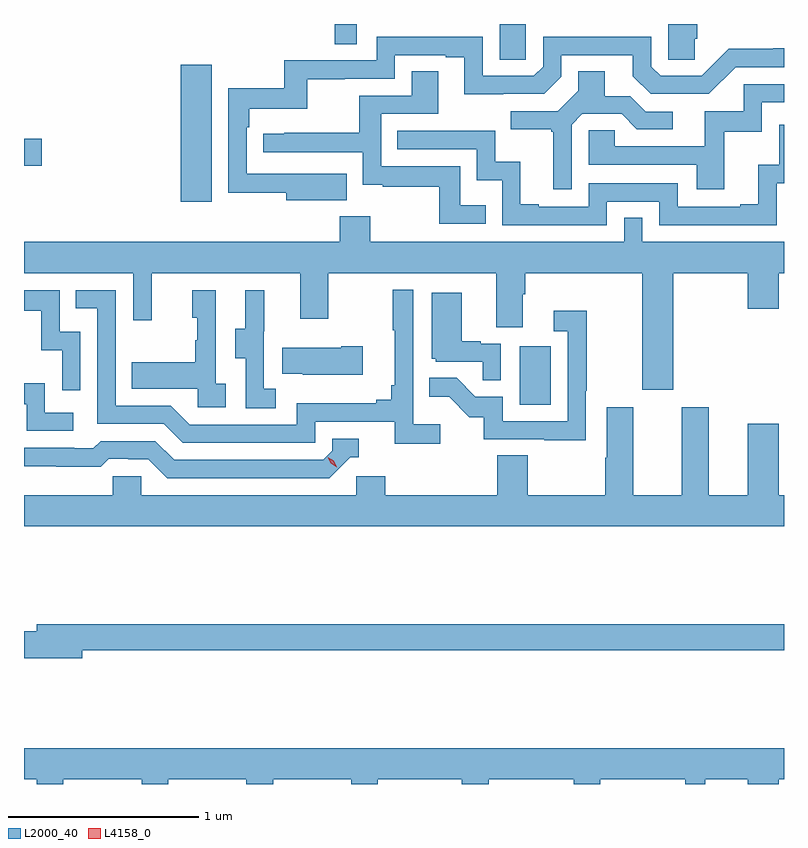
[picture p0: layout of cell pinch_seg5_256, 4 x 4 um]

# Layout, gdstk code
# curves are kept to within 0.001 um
import gdstk
lib = gdstk.Library(unit=1e-6, precision=1e-09)
def R(c, l, rs):  # rectangles x0, y0, x1, y1
    for r in rs: c.add(gdstk.rectangle(r[:2], r[2:], *l))
def P(c, l, *ps):  # polygons
    for p in ps: c.add(gdstk.Polygon(p, *l))
L2000_40 = (2000, 40)
L4158_0 = (4158, 0)

pinch_seg5_256 = lib.new_cell('pinch_seg5_256')
R(pinch_seg5_256, L2000_40, [(931.04,901.356,931.204,901.663), (929.258,902.424,929.419,903.145), (928.432,902.614,928.525,902.756), (930.935,903.172,931.074,903.359), (930.067,903.253,930.183,903.359)])
P(pinch_seg5_256, L2000_40, [(931.961,903.282),(931.976,903.282),(931.976,903.359),(931.824,903.359),(931.824,903.172),(931.961,903.172)],
  [(930.131,902.572),(929.604,902.571),(929.604,902.816),(929.618,902.816),(929.618,902.912),(929.923,902.912),(929.923,903.067),(930.119,903.067),(930.119,903.072),(930.384,903.072),(930.384,903.195),(930.653,903.195),(930.653,903.183),(930.749,903.183),(930.749,902.99),(931.17,902.991),(931.26,903.081),(931.26,903.195),(931.637,903.195),(931.637,903.085),(931.731,902.991),(932.037,902.991),(932.178,903.132),(932.432,903.132),(932.432,903.232),(932.376,903.232),(932.376,903.229),(932.14,903.229),(931.998,903.087),(931.782,903.087),(931.734,903.135),(931.734,903.291),(931.164,903.291),(931.164,903.135),(931.116,903.087),(930.846,903.087),(930.846,903.291),(930.288,903.291),(930.288,903.168),(929.802,903.168),(929.802,903.022),(929.508,903.022),(929.508,902.47),(929.813,902.47),(929.813,902.432),(930.131,902.432)],
  [(930.863,902.404),(930.729,902.404),(930.729,902.61),(930.312,902.61),(930.312,902.886),(930.613,902.886),(930.613,903.11),(930.473,903.11),(930.473,902.982),(930.196,902.982),(930.196,902.786),(929.803,902.786),(929.803,902.781),(929.691,902.781),(929.691,902.685),(930.216,902.685),(930.216,902.513),(930.319,902.513),(930.319,902.502),(930.618,902.502),(930.618,902.307),(930.863,902.307)],
  [(931.314,902.829),(931.371,902.886),(931.577,902.886),(931.658,902.805),(931.846,902.805),(931.846,902.898),(931.704,902.898),(931.624,902.978),(931.489,902.978),(931.489,903.11),(931.349,903.11),(931.349,903.008),(931.242,902.901),(930.993,902.901),(930.993,902.804),(931.206,902.804),(931.206,902.793),(931.217,902.793),(931.217,902.49),(931.314,902.49)],
  [(932.117,902.793),(932.316,902.793),(932.316,902.946),(932.432,902.946),(932.432,903.042),(932.22,903.042),(932.22,902.901),(932.015,902.901),(932.015,902.715),(931.541,902.715),(931.541,902.799),(931.404,902.799),(931.404,902.619),(931.973,902.619),(931.973,902.49),(932.117,902.49)],
  [(931.5,902.424),(931.776,902.424),(931.776,902.301),(932.394,902.301),(932.394,902.52),(932.432,902.52),(932.432,902.83),(932.406,902.83),(932.406,902.618),(932.297,902.618),(932.297,902.41),(932.201,902.41),(932.201,902.397),(931.872,902.397),(931.872,902.52),(931.404,902.52),(931.404,902.397),(931.141,902.397),(931.141,902.41),(931.045,902.41),(931.045,902.635),(930.912,902.635),(930.912,902.796),(930.397,902.796),(930.397,902.7),(930.816,902.7),(930.816,902.537),(930.948,902.537),(930.948,902.301),(931.5,902.301)],
  [(931.849,902.048),(932.24,902.048),(932.24,901.86),(932.404,901.86),(932.404,902.048),(932.432,902.048),(932.432,902.212),(931.686,902.212),(931.686,902.339),(931.59,902.339),(931.59,902.212),(930.255,902.212),(930.255,902.347),(930.095,902.347),(930.095,902.212),(928.432,902.212),(928.432,902.048),(929.007,902.048),(929.007,901.8),(929.105,901.8),(929.105,902.048),(929.885,902.048),(929.885,901.809),(930.033,901.809),(930.033,902.048),(930.917,902.048),(930.917,901.762),(931.057,901.762),(931.057,901.936),(931.07,901.936),(931.07,902.048),(931.685,902.048),(931.685,901.434),(931.849,901.434)],
  [(930.622,901.252),(930.48,901.252),(930.48,901.96),(930.372,901.96),(930.372,901.747),(930.383,901.747),(930.383,901.459),(930.364,901.459),(930.364,901.382),(930.287,901.382),(930.287,901.363),(929.868,901.363),(929.868,901.251),(929.304,901.251),(929.205,901.35),(928.914,901.35),(928.914,901.959),(928.705,901.959),(928.705,901.863),(928.818,901.863),(928.818,901.254),(929.168,901.254),(929.267,901.155),(929.964,901.155),(929.964,901.266),(930.383,901.266),(930.383,901.15),(930.622,901.15)],
  [(928.728,901.74),(928.62,901.74),(928.62,901.959),(928.432,901.959),(928.432,901.851),(928.523,901.851),(928.523,901.643),(928.632,901.643),(928.632,901.431),(928.728,901.431)],
  [(929.494,901.466),(929.442,901.466),(929.442,901.957),(929.318,901.957),(929.318,901.812),(929.344,901.812),(929.344,901.694),(929.334,901.694),(929.334,901.579),(928.999,901.579),(928.999,901.439),(929.346,901.439),(929.346,901.341),(929.494,901.341)],
  [(929.758,901.439),(929.694,901.439),(929.694,901.743),(929.696,901.743),(929.696,901.957),(929.597,901.957),(929.597,901.755),(929.543,901.755),(929.543,901.6),(929.598,901.6),(929.598,901.336),(929.758,901.336)],
  [(930.942,901.677),(930.836,901.677),(930.836,901.69),(930.736,901.69),(930.736,901.945),(930.578,901.945),(930.578,901.596),(930.6,901.596),(930.6,901.581),(930.847,901.581),(930.847,901.483),(930.942,901.483)],
  [(931.389,901.429),(931.394,901.429),(931.394,901.849),(931.221,901.849),(931.221,901.743),(931.293,901.743),(931.293,901.269),(930.951,901.269),(930.951,901.398),(930.807,901.398),(930.709,901.496),(930.565,901.496),(930.565,901.397),(930.669,901.397),(930.776,901.29),(930.853,901.29),(930.853,901.173),(931.171,901.173),(931.171,901.168),(931.389,901.168)],
  [(930.214,901.662),(930.101,901.662),(930.101,901.654),(929.791,901.654),(929.791,901.517),(929.899,901.517),(929.899,901.514),(930.214,901.514)],
  [(928.69,901.314),(928.542,901.314),(928.542,901.468),(928.432,901.468),(928.432,901.359),(928.446,901.359),(928.446,901.218),(928.69,901.218)],
  [(932.432,900.88),(932.404,900.88),(932.404,901.255),(932.24,901.255),(932.24,900.88),(932.035,900.88),(932.035,901.342),(931.895,901.342),(931.895,900.88),(931.639,900.88),(931.639,901.342),(931.499,901.342),(931.499,901.076),(931.492,901.076),(931.492,900.88),(931.083,900.88),(931.083,901.088),(930.923,901.088),(930.923,900.88),(930.332,900.88),(930.332,900.978),(930.18,900.978),(930.18,900.88),(929.049,900.88),(929.049,900.978),(928.899,900.978),(928.899,900.88),(928.432,900.88),(928.432,900.716),(932.432,900.716)],
  [(930.15,901.08),(930.193,901.08),(930.193,901.176),(930.054,901.176),(930.054,901.113),(930.006,901.065),(929.223,901.065),(929.124,901.164),(928.835,901.164),(928.796,901.125),(928.697,901.125),(928.697,901.128),(928.432,901.128),(928.432,901.031),(928.602,901.031),(928.602,901.029),(928.835,901.029),(928.877,901.071),(928.98,901.071),(928.98,901.068),(929.087,901.068),(929.186,900.969),(930.039,900.969)],
  [(928.738,900.064),(932.432,900.064),(932.432,900.2),(928.499,900.2),(928.499,900.164),(928.432,900.164),(928.432,900.022),(928.738,900.022)],
  [(928.639,899.384),(929.051,899.384),(929.051,899.359),(929.191,899.359),(929.191,899.384),(929.603,899.384),(929.603,899.359),(929.743,899.359),(929.743,899.384),(930.155,899.384),(930.155,899.359),(930.295,899.359),(930.295,899.384),(930.737,899.384),(930.737,899.359),(930.877,899.359),(930.877,899.384),(931.325,899.384),(931.325,899.359),(931.465,899.359),(931.465,899.384),(931.913,899.384),(931.913,899.359),(932.017,899.359),(932.017,899.384),(932.24,899.384),(932.24,899.359),(932.404,899.359),(932.404,899.384),(932.432,899.384),(932.432,899.548),(928.432,899.548),(928.432,899.384),(928.499,899.384),(928.499,899.359),(928.639,899.359)])
P(pinch_seg5_256, L4158_0, [(930.077,901.027),(930.047,901.047),(930.03,901.08),(930.03,901.08),(930.031,901.08),(930.061,901.06),(930.078,901.027),(930.078,901.027)])

lib.write_gds('pinch_seg5_256.gds')
